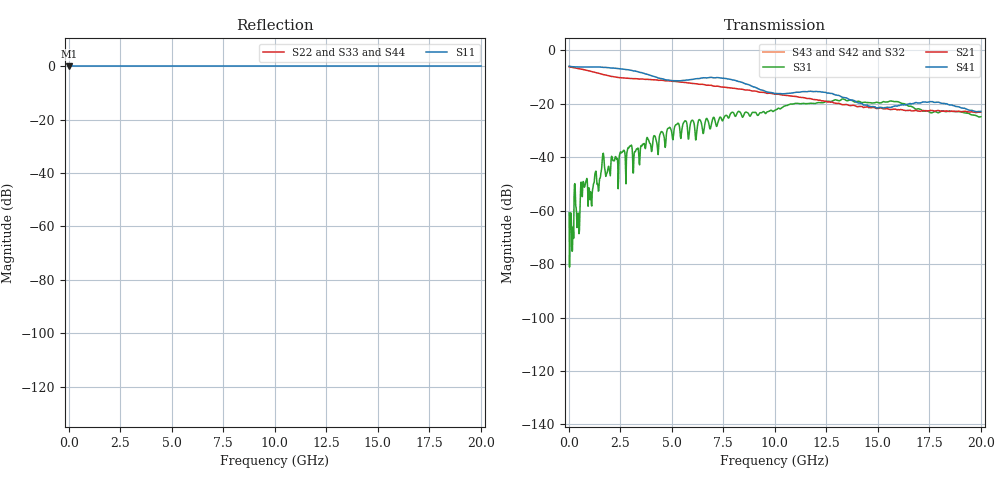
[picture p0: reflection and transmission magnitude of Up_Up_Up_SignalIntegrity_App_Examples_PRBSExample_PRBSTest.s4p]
! File created by SignalIntegrity v1.3.2: Signal and Power Integrity Tools
! https://github.com/TeledyneLeCroy/SignalIntegrity
# MHz S MA R 50.0
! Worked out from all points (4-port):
!   1000 points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, 20 MHz to 20 GHz, reference 50 ohm
!   strongest paths, dB at 20 MHz, 5.02 GHz, 10.02 GHz, 15.02 GHz, 20 GHz:
!     S41: -5.9, -11.3, -16.1, -21.5, -22.8
!     S21: -6.1, -11.5, -16.3, -21.7, -23.0
!     S31: -60.7, -31.7, -22.3, -19.6, -24.8
!     S43: -, -, -, -, -
!     S42: -, -, -, -, -
!     S32: -, -, -, -, -
!   lowest |S11| = 0.0 dB at 20 MHz (marker M1)
!   |S11| at or under -10 dB: nowhere
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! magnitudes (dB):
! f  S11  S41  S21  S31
! 20 MHz  0.0  -5.9  -6.1  -60.7
! 140 MHz  0.0  -6.0  -6.3  -67.0
! 680 MHz  0.0  -6.2  -7.1  -51.2
! 1.66 GHz  0.0  -6.3  -9.0  -38.7
! 5.64 GHz  0.0  -11.1  -12.0  -26.3
! 13.32 GHz  0.0  -17.6  -20.3  -18.2
! 20 GHz  0.0  -22.8  -23.0  -24.8
